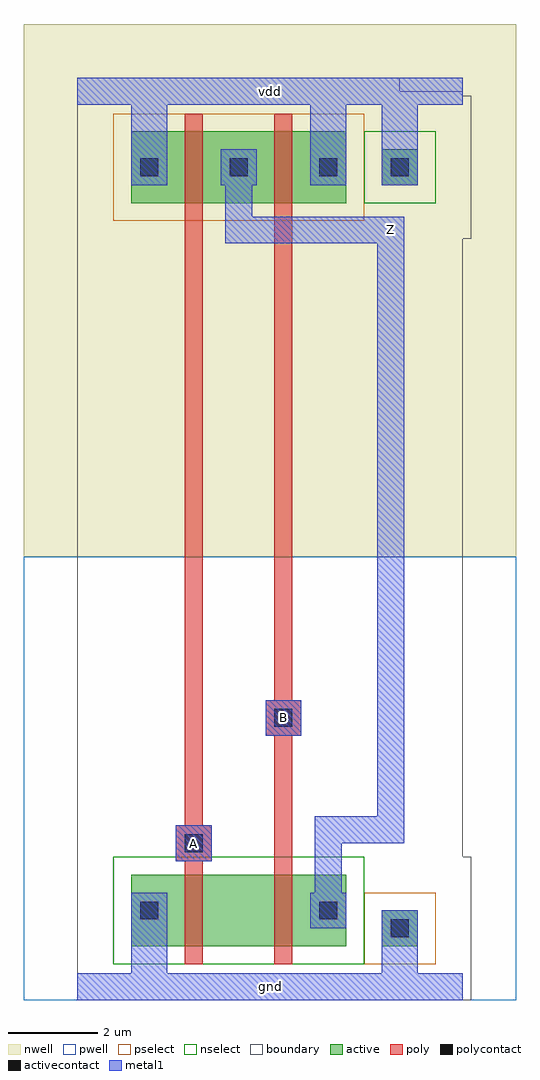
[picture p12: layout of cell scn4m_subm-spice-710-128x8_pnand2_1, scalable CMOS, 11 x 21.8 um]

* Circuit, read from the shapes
.subckt scn4m_subm-spice-710-128x8_pnand2_1 A B Z gnd vdd
M1 scn4m_subm-spice-710-128x8_nmos_m1_w1_600_sm1_dactive_2/D A gnd gnd nfet w=1.6u l=0.4u
M2 Z B scn4m_subm-spice-710-128x8_nmos_m1_w1_600_sm1_dactive_2/D gnd nfet w=1.6u l=0.4u
M3 Z A vdd vdd pfet w=1.6u l=0.4u
M4 vdd B Z vdd pfet w=1.6u l=0.4u
.ends

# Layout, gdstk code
import gdstk
lib = gdstk.Library(unit=1e-6, precision=1e-09)
def R(c, l, rs):  # rectangles x0, y0, x1, y1
    for r in rs: c.add(gdstk.rectangle(r[:2], r[2:], *l))
pwell = (41, 0)
nwell = (42, 0)
active = (43, 0)
pselect = (44, 0)
nselect = (45, 0)
poly = (46, 0)
polycontact = (47, 0)
activecontact = (48, 0)
metal1 = (49, 0)
boundary = (63, 0)

scn4m_subm_spice_710_128 = lib.new_cell('scn4m_subm-spice-710-128x8_contact_12')
R(scn4m_subm_spice_710_128, nwell, [(-1.2,-1.2,2,2)])
R(scn4m_subm_spice_710_128, active, [(0,0,0.8,0.8)])
R(scn4m_subm_spice_710_128, pselect, [(-0.4,-0.4,1.2,1.2)])
R(scn4m_subm_spice_710_128, activecontact, [(0.2,0.2,0.6,0.6)])
R(scn4m_subm_spice_710_128, metal1, [(0,0,0.8,0.8)])
R(scn4m_subm_spice_710_128, boundary, [(-1.2,-1.2,2,2)])

c_scn4m_subm_spice_710_128 = lib.new_cell('scn4m_subm-spice-710-128x8_pmos_m1_w1_600_sm1_dm1')
R(c_scn4m_subm_spice_710_128, nwell, [(-1.2,-1.2,4,2.8)])
R(c_scn4m_subm_spice_710_128, active, [(0,0,2.8,1.6)])
R(c_scn4m_subm_spice_710_128, pselect, [(-0.4,-0.4,3.2,2)])
R(c_scn4m_subm_spice_710_128, poly, [(1.2,-0.4,1.6,2), (1.2,-0.4,1.6,2)])
R(c_scn4m_subm_spice_710_128, metal1, [(0,0.4,0.8,1.2), (2,0.4,2.8,1.2)])
R(c_scn4m_subm_spice_710_128, boundary, [(-1.2,-1.2,4,2.8)])
c_scn4m_subm_spice_710_128.add(gdstk.Reference(scn4m_subm_spice_710_128, (0,0.4)))
c_scn4m_subm_spice_710_128.add(gdstk.Reference(scn4m_subm_spice_710_128, (2,0.4)))
c_scn4m_subm_spice_710_128.add(gdstk.Label('G', (1.4,0.8), layer=46, texttype=0))
c_scn4m_subm_spice_710_128.add(gdstk.Label('S', (0.4,0.8), layer=49, texttype=0))
c_scn4m_subm_spice_710_128.add(gdstk.Label('D', (2.4,0.8), layer=49, texttype=0))

c_scn4m_subm_spice_710_128_ = lib.new_cell('scn4m_subm-spice-710-128x8_contact_11')
R(c_scn4m_subm_spice_710_128_, pwell, [(-1.2,-1.2,2,2)])
R(c_scn4m_subm_spice_710_128_, active, [(0,0,0.8,0.8)])
R(c_scn4m_subm_spice_710_128_, nselect, [(-0.4,-0.4,1.2,1.2)])
R(c_scn4m_subm_spice_710_128_, activecontact, [(0.2,0.2,0.6,0.6)])
R(c_scn4m_subm_spice_710_128_, metal1, [(0,0,0.8,0.8)])
R(c_scn4m_subm_spice_710_128_, boundary, [(-1.2,-1.2,2,2)])

c_scn4m_subm_spice_710_128__ = lib.new_cell('scn4m_subm-spice-710-128x8_nmos_m1_w1_600_sm1_dactive')
R(c_scn4m_subm_spice_710_128__, pwell, [(-1.2,-1.2,4,2.8)])
R(c_scn4m_subm_spice_710_128__, active, [(0,0,2.8,1.6), (2.1,0.5,2.7,1.1)])
R(c_scn4m_subm_spice_710_128__, nselect, [(-0.4,-0.4,3.2,2)])
R(c_scn4m_subm_spice_710_128__, poly, [(1.2,-0.4,1.6,2), (1.2,-0.4,1.6,2)])
R(c_scn4m_subm_spice_710_128__, metal1, [(0,0.4,0.8,1.2)])
R(c_scn4m_subm_spice_710_128__, boundary, [(-1.2,-1.2,4,2.8)])
c_scn4m_subm_spice_710_128__.add(gdstk.Reference(c_scn4m_subm_spice_710_128_, (0,0.4)))
c_scn4m_subm_spice_710_128__.add(gdstk.Label('G', (1.4,0.8), layer=46, texttype=0))
c_scn4m_subm_spice_710_128__.add(gdstk.Label('S', (0.4,0.8), layer=49, texttype=0))
c_scn4m_subm_spice_710_128__.add(gdstk.Label('D', (2.4,0.8), layer=43, texttype=0))

c_scn4m_subm_spice_710_128___ = lib.new_cell('scn4m_subm-spice-710-128x8_nmos_m1_w1_600_sactive_dm1')
R(c_scn4m_subm_spice_710_128___, pwell, [(-1.2,-1.2,4,2.8)])
R(c_scn4m_subm_spice_710_128___, active, [(0,0,2.8,1.6), (0.1,0.5,0.7,1.1)])
R(c_scn4m_subm_spice_710_128___, nselect, [(-0.4,-0.4,3.2,2)])
R(c_scn4m_subm_spice_710_128___, poly, [(1.2,-0.4,1.6,2), (1.2,-0.4,1.6,2)])
R(c_scn4m_subm_spice_710_128___, metal1, [(2,0.4,2.8,1.2)])
R(c_scn4m_subm_spice_710_128___, boundary, [(-1.2,-1.2,4,2.8)])
c_scn4m_subm_spice_710_128___.add(gdstk.Reference(c_scn4m_subm_spice_710_128_, (2,0.4)))
c_scn4m_subm_spice_710_128___.add(gdstk.Label('G', (1.4,0.8), layer=46, texttype=0))
c_scn4m_subm_spice_710_128___.add(gdstk.Label('S', (0.4,0.8), layer=43, texttype=0))
c_scn4m_subm_spice_710_128___.add(gdstk.Label('D', (2.4,0.8), layer=49, texttype=0))

c_scn4m_subm_spice_710_128____ = lib.new_cell('scn4m_subm-spice-710-128x8_contact_13')
R(c_scn4m_subm_spice_710_128____, nwell, [(-1.2,-1.2,2,2)])
R(c_scn4m_subm_spice_710_128____, active, [(0,0,0.8,0.8)])
R(c_scn4m_subm_spice_710_128____, nselect, [(-0.4,-0.4,1.2,1.2)])
R(c_scn4m_subm_spice_710_128____, activecontact, [(0.2,0.2,0.6,0.6)])
R(c_scn4m_subm_spice_710_128____, metal1, [(0,0,0.8,0.8)])
R(c_scn4m_subm_spice_710_128____, boundary, [(-1.2,-1.2,2,2)])

c_scn4m_subm_spice_710_128_____ = lib.new_cell('scn4m_subm-spice-710-128x8_contact_14')
R(c_scn4m_subm_spice_710_128_____, pwell, [(-1.2,-1.2,2,2)])
R(c_scn4m_subm_spice_710_128_____, active, [(0,0,0.8,0.8)])
R(c_scn4m_subm_spice_710_128_____, pselect, [(-0.4,-0.4,1.2,1.2)])
R(c_scn4m_subm_spice_710_128_____, activecontact, [(0.2,0.2,0.6,0.6)])
R(c_scn4m_subm_spice_710_128_____, metal1, [(0,0,0.8,0.8)])
R(c_scn4m_subm_spice_710_128_____, boundary, [(-1.2,-1.2,2,2)])

c_scn4m_subm_spice_710_128______ = lib.new_cell('scn4m_subm-spice-710-128x8_contact_15')
R(c_scn4m_subm_spice_710_128______, poly, [(0,0,0.8,0.8)])
R(c_scn4m_subm_spice_710_128______, polycontact, [(0.2,0.2,0.6,0.6)])
R(c_scn4m_subm_spice_710_128______, metal1, [(0,0,0.8,0.8)])
R(c_scn4m_subm_spice_710_128______, boundary, [(0,0,0.8,0.8)])

c_scn4m_subm_spice_710_128_______ = lib.new_cell('scn4m_subm-spice-710-128x8_pnand2_1')
R(c_scn4m_subm_spice_710_128_______, pwell, [(-1.2,-0.3,9.8,9.6)])
R(c_scn4m_subm_spice_710_128_______, nwell, [(-1.2,9.6,9.8,21.5)])
R(c_scn4m_subm_spice_710_128_______, poly, [(2.4,2.8,2.6,3.6), (2.4,2.9,2.8,17.1), (4.4,2.9,4.8,17.1), (4.4,5.6,4.6,6.4)])
R(c_scn4m_subm_spice_710_128_______, metal1, [(0,-0.3,8.6,0.3), (1.2,-0.3,2,1.3), (6.8,0,7.6,1.3), (5.3,2.1,5.9,3.5), (2.2,2.8,3,3.6), (5.3,3.2,5.9,3.8), (5.6,3.2,7,3.8), (6.7,3.2,7.3,3.8), (6.7,3.5,7.3,16.9), (4.2,5.6,5,6.4), (3.3,16.6,3.9,17.2), (3.6,16.6,7,17.2), (6.7,16.6,7.3,17.2), (3.3,16.9,3.9,17.9), (1.2,17.9,2,20.3), (5.2,17.9,6,20.3), (6.8,18.3,7.6,20), (0,19.7,8.6,20.3)])
R(c_scn4m_subm_spice_710_128_______, boundary, [(0,0,8.6,20), (0,0,8.6,20)])
c_scn4m_subm_spice_710_128_______.add(gdstk.Reference(c_scn4m_subm_spice_710_128, (1.2,17.5)))
c_scn4m_subm_spice_710_128_______.add(gdstk.Reference(c_scn4m_subm_spice_710_128, (3.2,17.5)))
c_scn4m_subm_spice_710_128_______.add(gdstk.Reference(c_scn4m_subm_spice_710_128__, (1.2,0.9)))
c_scn4m_subm_spice_710_128_______.add(gdstk.Reference(c_scn4m_subm_spice_710_128___, (3.2,0.9)))
c_scn4m_subm_spice_710_128_______.add(gdstk.Reference(c_scn4m_subm_spice_710_128____, (6.8,17.9)))
c_scn4m_subm_spice_710_128_______.add(gdstk.Reference(c_scn4m_subm_spice_710_128_____, (6.8,0.9)))
c_scn4m_subm_spice_710_128_______.add(gdstk.Reference(c_scn4m_subm_spice_710_128______, (2.2,2.8)))
c_scn4m_subm_spice_710_128_______.add(gdstk.Reference(c_scn4m_subm_spice_710_128______, (4.2,5.6)))
c_scn4m_subm_spice_710_128_______.add(gdstk.Label('Z', (7,16.9), layer=49, texttype=0))
c_scn4m_subm_spice_710_128_______.add(gdstk.Label('gnd', (4.3,0), layer=49, texttype=0))
c_scn4m_subm_spice_710_128_______.add(gdstk.Label('vdd', (4.3,20), layer=49, texttype=0))
c_scn4m_subm_spice_710_128_______.add(gdstk.Label('A', (2.6,3.2), layer=49, texttype=0))
c_scn4m_subm_spice_710_128_______.add(gdstk.Label('B', (4.6,6), layer=49, texttype=0))

lib.write_gds('scn4m_subm-spice-710-128x8_pnand2_1.gds')
